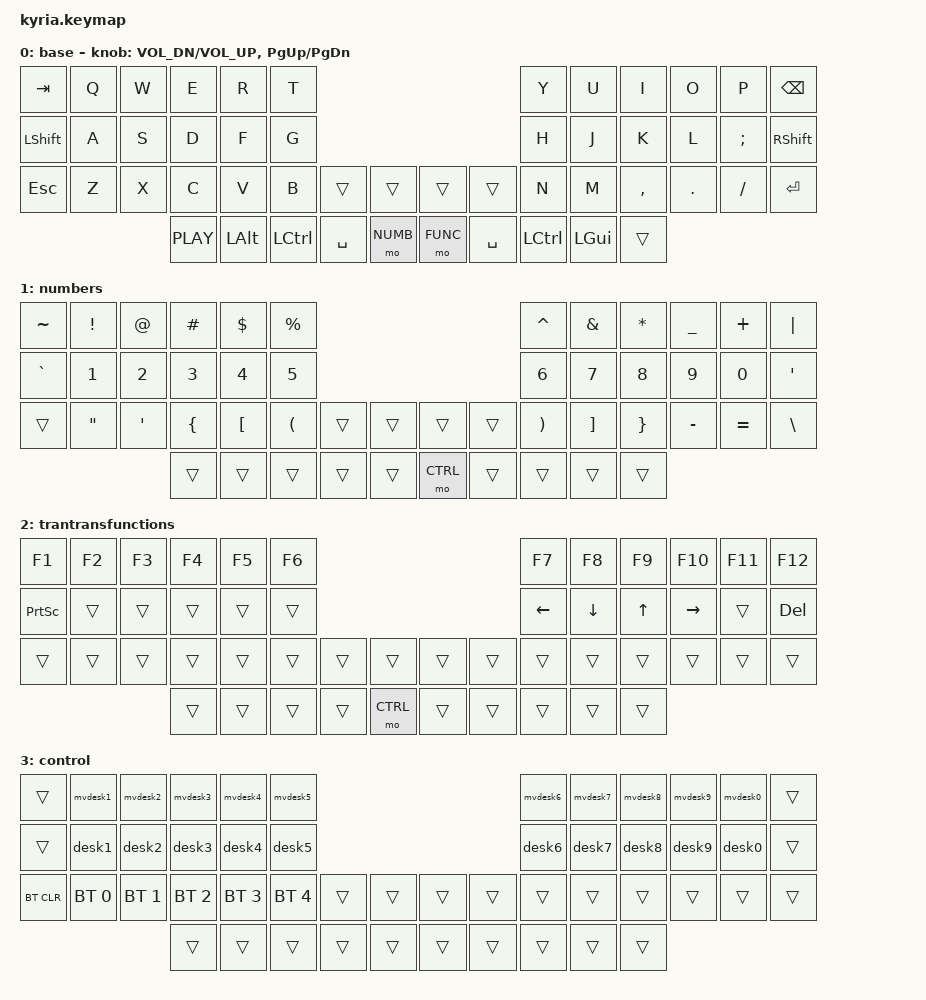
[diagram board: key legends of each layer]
/*
 * Copyright (c) 2020 The ZMK Contributors
 *
 * SPDX-License-Identifier: MIT
 */

#include <behaviors.dtsi>
#include <dt-bindings/zmk/keys.h>
#include <dt-bindings/zmk/bt.h>

#define DFLT 0
#define NUMB 1
#define FUNC 2
#define CTRL 3

/ {
    chosen {
        zmk,battery = &vbatt;
    };

    vbatt: vbatt {
        compatible = "zmk,battery-nrf-vddh";
        label = "VBATT";
    };

    keymap {
        compatible = "zmk,keymap";

        base {
            bindings = <
                &kp TAB   &kp Q     &kp W     &kp E     &kp R     &kp T                                                  &kp Y     &kp U     &kp I     &kp O     &kp P     &kp BSPC
                &kp LSHFT &kp A     &kp S     &kp D     &kp F     &kp G                                                  &kp H     &kp J     &kp K     &kp L     &kp SEMI  &kp RSHFT
                &kp ESC   &kp Z     &kp X     &kp C     &kp V     &kp B     &trans    &trans         &trans    &trans    &kp N     &kp M     &kp COMMA &kp DOT   &kp FSLH  &kp ENTER
                                             &kp C_PLAY &kp LALT  &kp LCTRL &kp SPACE &mo NUMB       &mo FUNC  &kp SPACE &kp LCTRL &kp LGUI  &trans
            >;

            sensor-bindings = <&inc_dec_kp C_VOL_DN C_VOL_UP &inc_dec_kp PG_UP PG_DN>;
        };

        numbers {
            bindings = <
                &kp TILDE &kp EXCL  &kp AT    &kp HASH  &kp DLLR  &kp PRCNT                                              &kp CARET &kp AMPS  &kp STAR  &kp UNDER &kp PLUS  &kp PIPE
                &kp GRAVE &kp N1    &kp N2    &kp N3    &kp N4    &kp N5                                                 &kp N6    &kp N7    &kp N8    &kp N9    &kp N0    &kp APOS
                &trans    &kp DQT   &kp APOS  &kp LBRC  &kp LBKT  &kp LPAR  &trans    &trans         &trans    &trans    &kp RPAR  &kp RBKT  &kp RBRC  &kp MINUS &kp EQUAL &kp BSLH
                                              &trans    &trans    &trans    &trans    &trans         &mo CTRL  &trans    &trans    &trans    &trans
            >;
        };
trantransfunctions {
            bindings = <
                &kp F1    &kp F2    &kp F3    &kp F4    &kp F5    &kp F6                                                 &kp F7    &kp F8    &kp F9    &kp F10   &kp F11   &kp F12
                &kp PSCRN &trans    &trans    &trans    &trans    &trans                                                 &kp LEFT  &kp DOWN  &kp UP    &kp RIGHT &trans    &kp DEL
                &trans    &trans    &trans    &trans    &trans    &trans    &trans    &trans         &trans    &trans    &trans    &trans    &trans    &trans    &trans    &trans
                                              &trans    &trans    &trans    &trans    &mo CTRL       &trans    &trans    &trans    &trans    &trans
            >;
        };

        control {
            bindings = <
                &trans     &mvdesk1     &mvdesk2     &mvdesk3     &mvdesk4     &mvdesk5                                                  &mvdesk6  &mvdesk7  &mvdesk8  &mvdesk9  &mvdesk0  &trans
                &trans     &desk1       &desk2       &desk3       &desk4       &desk5                                                    &desk6    &desk7    &desk8    &desk9    &desk0    &trans
                &bt BT_CLR &bt BT_SEL 0 &bt BT_SEL 1 &bt BT_SEL 2 &bt BT_SEL 3 &bt BT_SEL 4 &trans    &trans         &trans    &trans    &trans    &trans    &trans    &trans    &trans    &trans
                                                     &trans       &trans       &trans       &trans    &trans         &trans    &trans    &trans    &trans    &trans
            >;
        };
    };

    macros {
        desk1: desk1 { label = "MACRO_desk1"; compatible = "zmk,behavior-macro"; #binding-cells = <0>; bindings = <&macro_press &kp LGUI>,<&macro_tap &kp N1>,<&macro_release &kp LGUI>; };
        mvdesk1: mvdesk1 {
            label = "MACRO_mvdesk1"; compatible = "zmk,behavior-macro"; #binding-cells = <0>;
            bindings = <&macro_press &kp LSHIFT>,<&macro_press &kp LGUI>,<&macro_tap &kp N1>,<&macro_release &kp LGUI>,<&macro_release &kp LSHIFT>;
        };
        desk2: desk2 { label = "MACRO_desk2"; compatible = "zmk,behavior-macro"; #binding-cells = <0>; bindings = <&macro_press &kp LGUI>,<&macro_tap &kp N2>,<&macro_release &kp LGUI>; };
        mvdesk2: mvdesk2 {
            label = "MACRO_mvdesk2"; compatible = "zmk,behavior-macro"; #binding-cells = <0>;
            bindings = <&macro_press &kp LSHIFT>,<&macro_press &kp LGUI>,<&macro_tap &kp N2>,<&macro_release &kp LGUI>,<&macro_release &kp LSHIFT>;
        };
        desk3: desk3 { label = "MACRO_desk3"; compatible = "zmk,behavior-macro"; #binding-cells = <0>; bindings = <&macro_press &kp LGUI>,<&macro_tap &kp N3>,<&macro_release &kp LGUI>; };
        mvdesk3: mvdesk3 {
            label = "MACRO_mvdesk3"; compatible = "zmk,behavior-macro"; #binding-cells = <0>;
            bindings = <&macro_press &kp LSHIFT>,<&macro_press &kp LGUI>,<&macro_tap &kp N3>,<&macro_release &kp LGUI>,<&macro_release &kp LSHIFT>;
        };
        desk4: desk4 { label = "MACRO_desk4"; compatible = "zmk,behavior-macro"; #binding-cells = <0>; bindings = <&macro_press &kp LGUI>,<&macro_tap &kp N4>,<&macro_release &kp LGUI>; };
        mvdesk4: mvdesk4 {
            label = "MACRO_mvdesk4"; compatible = "zmk,behavior-macro"; #binding-cells = <0>;
            bindings = <&macro_press &kp LSHIFT>,<&macro_press &kp LGUI>,<&macro_tap &kp N4>,<&macro_release &kp LGUI>,<&macro_release &kp LSHIFT>;
        };
        desk5: desk5 { label = "MACRO_desk5"; compatible = "zmk,behavior-macro"; #binding-cells = <0>; bindings = <&macro_press &kp LGUI>,<&macro_tap &kp N5>,<&macro_release &kp LGUI>; };
        mvdesk5: mvdesk5 {
            label = "MACRO_mvdesk5"; compatible = "zmk,behavior-macro"; #binding-cells = <0>;
            bindings = <&macro_press &kp LSHIFT>,<&macro_press &kp LGUI>,<&macro_tap &kp N5>,<&macro_release &kp LGUI>,<&macro_release &kp LSHIFT>;
        };
        desk6: desk6 { label = "MACRO_desk6"; compatible = "zmk,behavior-macro"; #binding-cells = <0>; bindings = <&macro_press &kp LGUI>,<&macro_tap &kp N6>,<&macro_release &kp LGUI>; };
        mvdesk6: mvdesk6 {
            label = "MACRO_mvdesk6"; compatible = "zmk,behavior-macro"; #binding-cells = <0>;
            bindings = <&macro_press &kp LSHIFT>,<&macro_press &kp LGUI>,<&macro_tap &kp N6>,<&macro_release &kp LGUI>,<&macro_release &kp LSHIFT>;
        };
        desk7: desk7 { label = "MACRO_desk7"; compatible = "zmk,behavior-macro"; #binding-cells = <0>; bindings = <&macro_press &kp LGUI>,<&macro_tap &kp N7>,<&macro_release &kp LGUI>; };
        mvdesk7: mvdesk7 {
            label = "MACRO_mvdesk7"; compatible = "zmk,behavior-macro"; #binding-cells = <0>;
            bindings = <&macro_press &kp LSHIFT>,<&macro_press &kp LGUI>,<&macro_tap &kp N7>,<&macro_release &kp LGUI>,<&macro_release &kp LSHIFT>;
        };
        desk8: desk8 { label = "MACRO_desk8"; compatible = "zmk,behavior-macro"; #binding-cells = <0>; bindings = <&macro_press &kp LGUI>,<&macro_tap &kp N8>,<&macro_release &kp LGUI>; };
        mvdesk8: mvdesk8 {
            label = "MACRO_mvdesk8"; compatible = "zmk,behavior-macro"; #binding-cells = <0>;
            bindings = <&macro_press &kp LSHIFT>,<&macro_press &kp LGUI>,<&macro_tap &kp N8>,<&macro_release &kp LGUI>,<&macro_release &kp LSHIFT>;
        };
        desk9: desk9 { label = "MACRO_desk9"; compatible = "zmk,behavior-macro"; #binding-cells = <0>; bindings = <&macro_press &kp LGUI>,<&macro_tap &kp N9>,<&macro_release &kp LGUI>; };
        mvdesk9: mvdesk9 {
            label = "MACRO_mvdesk9"; compatible = "zmk,behavior-macro"; #binding-cells = <0>;
            bindings = <&macro_press &kp LSHIFT>,<&macro_press &kp LGUI>,<&macro_tap &kp MINUS>,<&macro_release &kp LGUI>,<&macro_release &kp LSHIFT>;
        };
        desk0: desk0 { label = "MACRO_desk0"; compatible = "zmk,behavior-macro"; #binding-cells = <0>; bindings = <&macro_press &kp LGUI>,<&macro_tap &kp N0>,<&macro_release &kp LGUI>; };
        mvdesk0: mvdesk0 {
            label = "MACRO_mvdesk0"; compatible = "zmk,behavior-macro"; #binding-cells = <0>;
            bindings = <&macro_press &kp LSHIFT>,<&macro_press &kp LGUI>,<&macro_tap &kp EQUAL>,<&macro_release &kp LGUI>,<&macro_release &kp LSHIFT>;
        };
    };
};
